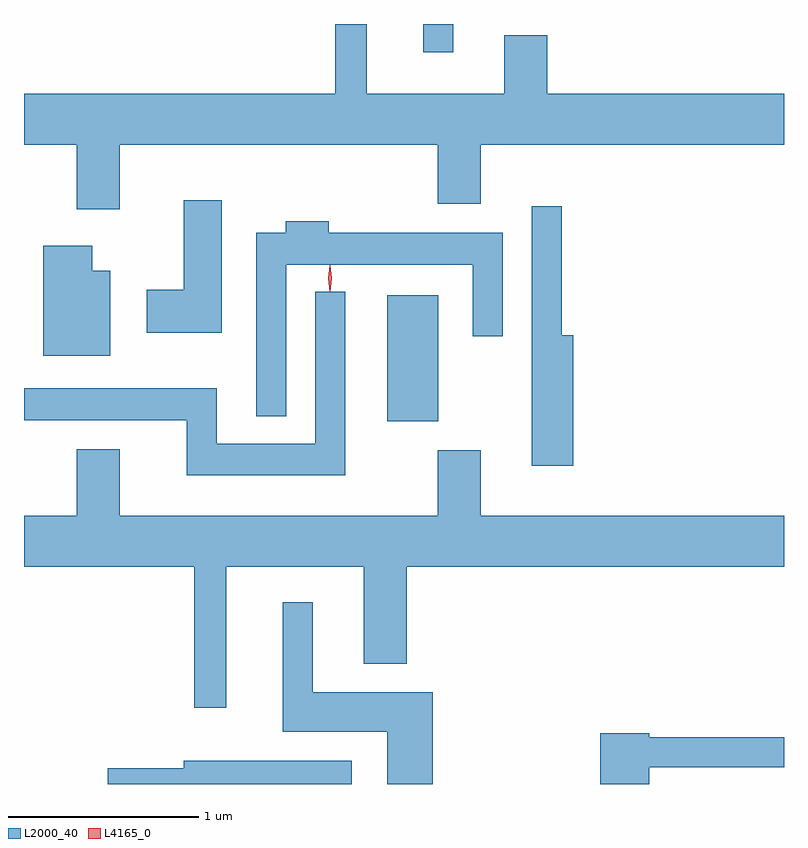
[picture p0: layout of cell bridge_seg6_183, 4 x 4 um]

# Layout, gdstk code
import gdstk
lib = gdstk.Library(unit=1e-6, precision=1e-09)
def R(c, l, rs):  # rectangles x0, y0, x1, y1
    for r in rs: c.add(gdstk.rectangle(r[:2], r[2:], *l))
def P(c, l, *ps):  # polygons
    for p in ps: c.add(gdstk.Polygon(p, *l))
L2000_40 = (2000, 40)
L4165_0 = (4165, 0)

bridge_seg6_183 = lib.new_cell('bridge_seg6_183')
R(bridge_seg6_183, L2000_40, [(1044.426,1590.761,1044.694,1591.424), (1044.616,1592.703,1044.774,1592.852)])
P(bridge_seg6_183, L2000_40, [(1043.019,1592.216),(1044.691,1592.216),(1044.691,1591.906),(1044.919,1591.906),(1044.919,1592.216),(1046.514,1592.216),(1046.514,1592.484),(1045.269,1592.484),(1045.269,1592.794),(1045.041,1592.794),(1045.041,1592.484),(1044.319,1592.484),(1044.319,1592.852),(1044.151,1592.852),(1044.151,1592.484),(1042.514,1592.484),(1042.514,1592.216),(1042.791,1592.216),(1042.791,1591.876),(1043.019,1591.876)],
  [(1043.554,1591.924),(1043.356,1591.924),(1043.356,1591.454),(1043.161,1591.454),(1043.161,1591.226),(1043.554,1591.226)],
  [(1045.404,1591.214),(1045.344,1591.214),(1045.344,1591.893),(1045.186,1591.893),(1045.186,1590.526),(1045.404,1590.526)],
  [(1043.894,1591.586),(1044.876,1591.586),(1044.876,1591.208),(1045.034,1591.208),(1045.034,1591.754),(1044.119,1591.754),(1044.119,1591.814),(1043.891,1591.814),(1043.891,1591.754),(1043.736,1591.754),(1043.736,1590.788),(1043.894,1590.788)],
  [(1042.969,1591.554),(1042.874,1591.554),(1042.874,1591.684),(1042.616,1591.684),(1042.616,1591.106),(1042.969,1591.106)],
  [(1044.204,1591.443),(1044.046,1591.443),(1044.046,1590.644),(1043.529,1590.644),(1043.529,1590.934),(1042.514,1590.934),(1042.514,1590.766),(1043.371,1590.766),(1043.371,1590.476),(1044.204,1590.476)],
  [(1043.579,1589.996),(1044.301,1589.996),(1044.301,1589.486),(1044.529,1589.486),(1044.529,1589.996),(1046.514,1589.996),(1046.514,1590.264),(1044.919,1590.264),(1044.919,1590.609),(1044.691,1590.609),(1044.691,1590.264),(1043.019,1590.264),(1043.019,1590.614),(1042.791,1590.614),(1042.791,1590.264),(1042.514,1590.264),(1042.514,1589.996),(1043.411,1589.996),(1043.411,1589.253),(1043.579,1589.253)],
  [(1044.664,1589.334),(1044.034,1589.334),(1044.034,1589.808),(1043.876,1589.808),(1043.876,1589.126),(1044.426,1589.126),(1044.426,1588.852),(1044.664,1588.852)],
  [(1045.804,1588.941),(1046.514,1588.941),(1046.514,1589.099),(1045.804,1589.099),(1045.804,1589.119),(1045.546,1589.119),(1045.546,1588.852),(1045.804,1588.852)],
  [(1044.238,1588.974),(1043.356,1588.974),(1043.356,1588.934),(1042.956,1588.934),(1042.956,1588.852),(1044.238,1588.852)])
P(bridge_seg6_183, L4165_0, [(1044.123,1591.447),(1044.114,1591.514),(1044.123,1591.58),(1044.124,1591.581),(1044.124,1591.58),(1044.134,1591.514),(1044.124,1591.447),(1044.124,1591.447)],
  [(1044.124,1591.444),(1044.115,1591.513),(1044.124,1591.582),(1044.125,1591.583),(1044.126,1591.582),(1044.135,1591.513),(1044.126,1591.444),(1044.125,1591.444)])

lib.write_gds('bridge_seg6_183.gds')
